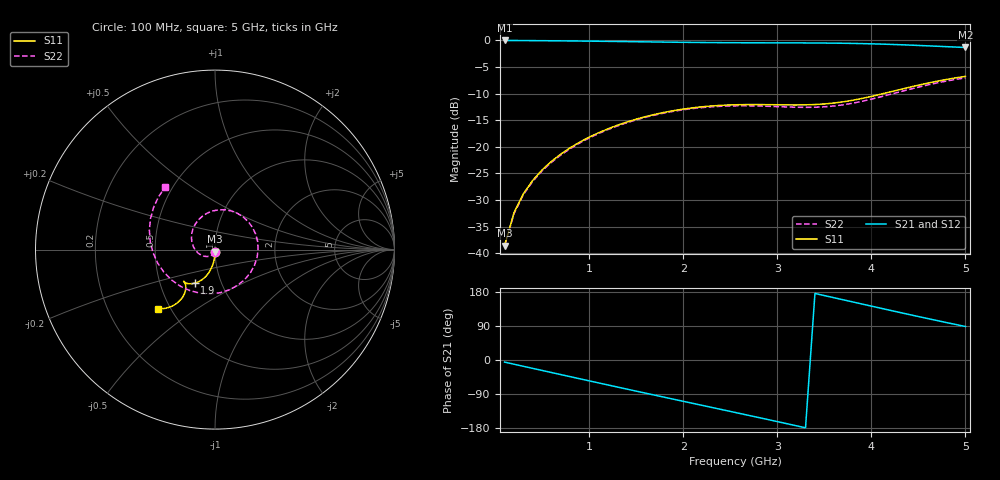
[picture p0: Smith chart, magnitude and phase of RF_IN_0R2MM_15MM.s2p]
! Created Tue Jul 13 15:05:52 2021
! List of port names and net name(s): example Port n = <port_name> <net_name1> <net_name2> ...
! Port 1 = P1 RF_IN GND GND
! Port 2 = P2 NetDD1_9 GND
# hz S ri R 50
! 2 Port Network Data from data block
! freq  reS11  imS11  reS21  imS21  reS12  imS12  reS22  imS22
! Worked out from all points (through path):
!   50 points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, 100 MHz to 5 GHz, reference 50 ohm
!   highest |S21| = -0.01 dB at 100 MHz (marker M1); lowest = -1.3 dB at 5 GHz (marker M2)
!   group delay of S21, straight-line fit = 151 ps
!   lowest |S11| = -38.5 dB at 100 MHz (marker M3), VSWR 1.02, Z = 50 - j1.18 ohm
!   |S11| at or under -10 dB: start of sweep to 4.127 GHz
!   |S22| runs from -38.7 to -7.0 dB; largest |S21 - S12| = 0
!   S11 on the Smith chart (normalised r, x): 100 MHz: 1.00, -0.02; 1.9 GHz: 0.75, -0.29; 5 GHz: 0.43, -0.36
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1e8  0.000456 -0.0118  0.9936 -0.0974  0.9936 -0.0974  -0.00143 -0.0116
2e8  -0.000159 -0.024  0.9784 -0.1924  0.9784 -0.1924  -0.00748 -0.0224
3e8  -0.0014 -0.0362  0.9542 -0.2852  0.9542 -0.2852  -0.0172 -0.0311
4e8  -0.00324 -0.0484  0.9212 -0.375  0.9212 -0.375  -0.0301 -0.0368
7e8  -0.0127 -0.0848  0.7732 -0.6178  0.7732 -0.6178  -0.0784 -0.0303
1e9  -0.029 -0.1198  0.5637 -0.8061  0.5637 -0.8061  -0.1201 0.0152
1.4e9  -0.0619 -0.1594  0.2228 -0.9481  0.2228 -0.9481  -0.1226 0.1156
1.8e9  -0.1032 -0.1839  -0.1394 -0.9535  -0.1394 -0.9535  -0.0425 0.2036
1.9e9  -0.1137 -0.1872  -0.2272 -0.9341  -0.2272 -0.9341  -0.0117 0.2156
2.2e9  -0.1426 -0.1902  -0.473 -0.8298  -0.473 -0.8298  0.0916 0.2151
2.6e9  -0.1685 -0.1832  -0.7386 -0.5976  -0.7386 -0.5976  0.2095 0.1228
3e9  -0.175 -0.1762  -0.9043 -0.2843  -0.9043 -0.2843  0.2347 -0.0427
3.2e9  -0.172 -0.1779  -0.9408 -0.1082  -0.9408 -0.1082  0.1975 -0.1282
3.4e9  -0.1672 -0.1853  -0.9425 0.0731  -0.9425 0.0731  0.1271 -0.1982
3.6e9  -0.1633 -0.1994  -0.9077 0.252  -0.9077 0.252  0.0303 -0.2399
3.8e9  -0.1632 -0.2196  -0.8369 0.4201  -0.8369 0.4201  -0.0811 -0.2435
4e9  -0.1697 -0.2444  -0.7334 0.5689  -0.7334 0.5689  -0.1914 -0.2049
4.2e9  -0.1846 -0.2709  -0.603 0.6911  -0.603 0.6911  -0.2842 -0.1264
4.4e9  -0.2084 -0.2957  -0.4536 0.7817  -0.4536 0.7817  -0.3453 -0.0175
4.6e9  -0.2404 -0.3155  -0.2941 0.8385  -0.2941 0.8385  -0.3656 0.108
4.8e9  -0.2783 -0.3274  -0.1328 0.8627  -0.1328 0.8627  -0.3426 0.2342
5e9  -0.3193 -0.33  0.0238 0.8572  0.0238 0.8572  -0.2794 0.3461
